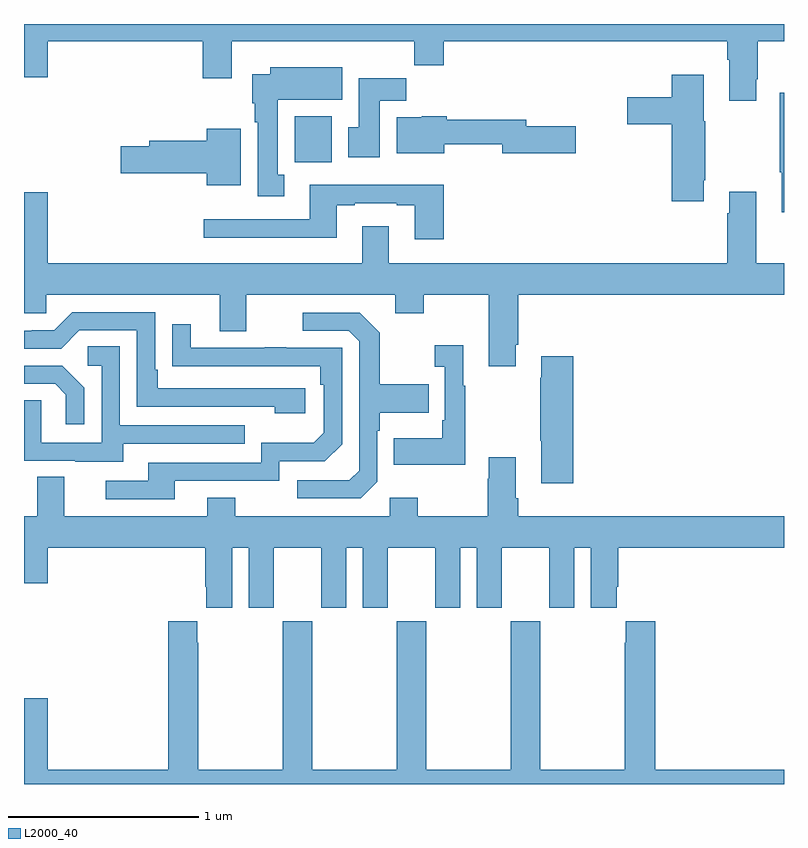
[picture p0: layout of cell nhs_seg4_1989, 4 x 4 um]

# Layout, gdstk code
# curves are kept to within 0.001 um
import gdstk
lib = gdstk.Library(unit=1e-6, precision=1e-09)
def R(c, l, rs):  # rectangles x0, y0, x1, y1
    for r in rs: c.add(gdstk.rectangle(r[:2], r[2:], *l))
def P(c, l, *ps):  # polygons
    for p in ps: c.add(gdstk.Polygon(p, *l))
L2000_40 = (2000, 40)

nhs_seg4_1989 = lib.new_cell('nhs_seg4_1989')
R(nhs_seg4_1989, L2000_40, [(214.424,808.172,214.621,808.414)])
P(nhs_seg4_1989, L2000_40, [(216.853,808.609),(216.861,808.609),(216.861,808.808),(217,808.808),(217,808.9),(213,808.9),(213,808.62),(213.124,808.62),(213.124,808.808),(213.941,808.808),(213.941,808.614),(214.093,808.614),(214.093,808.808),(215.053,808.808),(215.053,808.684),(215.21,808.684),(215.21,808.808),(216.701,808.808),(216.701,808.712),(216.713,808.712),(216.713,808.497),(216.853,808.497)],
  [(214.369,808.106),(214.336,808.106),(214.336,808.502),(214.675,808.502),(214.675,808.672),(214.295,808.672),(214.295,808.636),(214.202,808.636),(214.202,808.482),(214.214,808.482),(214.214,808.382),(214.229,808.382),(214.229,807.993),(214.369,807.993)],
  [(216.577,808.078),(216.585,808.078),(216.585,808.389),(216.577,808.389),(216.577,808.633),(216.41,808.633),(216.41,808.515),(216.174,808.515),(216.174,808.373),(216.41,808.373),(216.41,807.966),(216.577,807.966)],
  [(214.873,808.496),(215.012,808.496),(215.012,808.614),(214.763,808.614),(214.763,808.356),(214.706,808.356),(214.706,808.2),(214.873,808.2)],
  [(217,808.537),(216.978,808.537),(216.978,808.121),(216.989,808.121),(216.989,807.909),(217,807.909)],
  [(215.212,808.267),(215.516,808.267),(215.516,808.22),(215.905,808.22),(215.905,808.362),(215.644,808.362),(215.644,808.396),(215.225,808.396),(215.225,808.414),(215.094,808.414),(215.094,808.408),(214.961,808.408),(214.961,808.22),(215.212,808.22)],
  [(214.141,808.348),(213.962,808.348),(213.962,808.286),(213.659,808.286),(213.659,808.256),(213.51,808.256),(213.51,808.114),(213.962,808.114),(213.962,808.052),(214.141,808.052)],
  [(215.21,808.054),(214.505,808.054),(214.505,807.873),(213.945,807.873),(213.945,807.776),(214.645,807.776),(214.645,807.945),(214.741,807.945),(214.741,807.957),(214.961,807.957),(214.961,807.945),(215.057,807.945),(215.057,807.768),(215.21,807.768)],
  [(215.587,807.211),(215.6,807.211),(215.6,807.476),(217,807.476),(217,807.64),(216.853,807.64),(216.853,808.018),(216.713,808.018),(216.713,807.905),(216.701,807.905),(216.701,807.64),(214.921,807.64),(214.921,807.835),(214.781,807.835),(214.781,807.64),(213.124,807.64),(213.124,808.015),(213,808.015),(213,807.378),(213.117,807.378),(213.117,807.476),(214.031,807.476),(214.031,807.282),(214.171,807.282),(214.171,807.476),(214.955,807.476),(214.955,807.377),(215.103,807.377),(215.103,807.476),(215.447,807.476),(215.447,807.099),(215.587,807.099)],
  [(214.48,806.982),(213.703,806.982),(213.703,807.079),(213.69,807.079),(213.69,807.384),(213.255,807.384),(213.159,807.288),(213.041,807.288),(213.041,807.285),(213,807.285),(213,807.192),(213.195,807.192),(213.291,807.288),(213.594,807.288),(213.594,806.886),(214.319,806.886),(214.319,806.852),(214.48,806.852)],
  [(214.86,806.49),(214.86,806.759),(214.873,806.759),(214.873,806.855),(215.129,806.855),(215.129,807.003),(214.873,807.003),(214.873,807.275),(214.767,807.381),(214.467,807.381),(214.467,807.285),(214.71,807.285),(214.764,807.231),(214.764,806.55),(214.713,806.499),(214.437,806.499),(214.437,806.403),(214.773,806.403)],
  [(213.793,806.496),(214.344,806.496),(214.344,806.598),(214.584,806.598),(214.674,806.688),(214.674,807.195),(214.379,807.195),(214.379,807.2),(214.267,807.2),(214.267,807.195),(213.877,807.195),(213.877,807.319),(213.781,807.319),(213.781,807.1),(214.558,807.099),(214.558,807.002),(214.578,807.002),(214.578,806.748),(214.525,806.695),(214.248,806.695),(214.248,806.592),(213.653,806.592),(213.653,806.496),(213.429,806.496),(213.429,806.4),(213.793,806.4)],
  [(215.323,806.995),(215.311,806.995),(215.311,807.208),(215.163,807.208),(215.163,807.095),(215.214,807.095),(215.214,806.815),(215.202,806.815),(215.202,806.719),(214.945,806.719),(214.945,806.579),(215.323,806.579)],
  [(213.523,806.691),(214.163,806.691),(214.163,806.787),(213.504,806.787),(213.504,807.203),(213.336,807.203),(213.336,807.102),(213.408,807.102),(213.408,806.697),(213.09,806.697),(213.09,806.921),(213,806.921),(213,806.601),(213.269,806.601),(213.269,806.597),(213.523,806.597)],
  [(215.891,807.151),(215.723,807.151),(215.723,807.038),(215.716,807.038),(215.716,806.707),(215.723,806.707),(215.723,806.484),(215.891,806.484)],
  [(213.318,806.986),(213.202,807.102),(213,807.102),(213,807.006),(213.164,807.006),(213.221,806.949),(213.221,806.793),(213.318,806.793)],
  [(214.096,806.144),(214.184,806.144),(214.184,805.827),(214.315,805.827),(214.315,806.144),(214.565,806.144),(214.565,805.827),(214.696,805.827),(214.696,806.144),(214.784,806.144),(214.784,805.827),(214.915,805.827),(214.915,806.144),(215.165,806.144),(215.165,805.827),(215.296,805.827),(215.296,806.144),(215.384,806.144),(215.384,805.827),(215.515,805.827),(215.515,806.144),(215.765,806.144),(215.765,805.827),(215.896,805.827),(215.896,806.144),(215.984,806.144),(215.984,805.827),(216.121,805.827),(216.121,805.939),(216.128,805.939),(216.128,806.144),(217,806.144),(217,806.308),(215.6,806.308),(215.6,806.404),(215.587,806.404),(215.587,806.62),(215.447,806.62),(215.447,806.507),(215.44,806.507),(215.44,806.308),(215.073,806.308),(215.073,806.407),(214.926,806.407),(214.926,806.308),(214.113,806.308),(214.113,806.407),(213.965,806.407),(213.965,806.308),(213.211,806.308),(213.211,806.516),(213.071,806.516),(213.071,806.308),(213,806.308),(213,805.956),(213.124,805.956),(213.124,806.144),(213.953,806.144),(213.953,805.939),(213.959,805.939),(213.959,805.827),(214.096,805.827)],
  [(217,804.976),(216.323,804.976),(216.323,805.756),(216.167,805.756),(216.167,805.643),(216.163,805.643),(216.163,804.976),(215.718,804.976),(215.718,805.756),(215.563,805.756),(215.563,804.976),(215.118,804.976),(215.118,805.756),(214.963,805.756),(214.963,804.976),(214.518,804.976),(214.518,805.756),(214.363,805.756),(214.363,804.976),(213.918,804.976),(213.918,805.643),(213.913,805.643),(213.913,805.756),(213.758,805.756),(213.758,804.976),(213.124,804.976),(213.124,805.351),(213,805.351),(213,804.9),(217,804.9)])

lib.write_gds('nhs_seg4_1989.gds')
